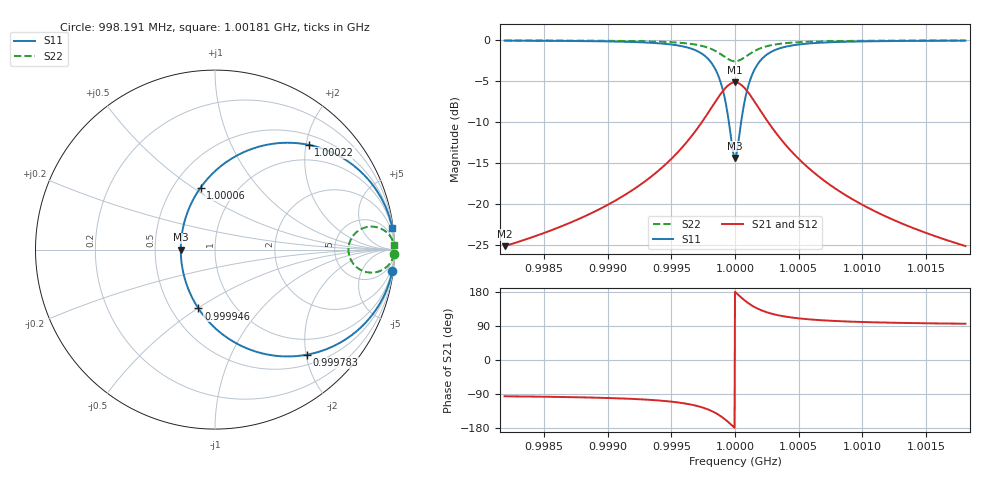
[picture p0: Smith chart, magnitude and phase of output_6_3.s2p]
! File generated for n1 = 6, n2 = 3
! b1 = 2.154435
! b2 = 0.464159
! Q0 = 10000.000000
! f0 = 1000000000.000000
! n = 1001
! rel_span = 10.000000
# Hz S RI R 50
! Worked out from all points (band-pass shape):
!   1001 points, 998.191 MHz to 1.00181 GHz, reference 50 ohm
!   highest |S21| = -5.15 dB at 1 GHz (marker M1); lowest = -25.2 dB at 998.191 MHz (marker M2)
!   |S21| within 3 dB of the highest: 999.8195 MHz to 1.000181 GHz (361 kHz wide, 0.0361 % of centre)
!   lowest |S11| = -14.4 dB at 1 GHz (marker M3), VSWR 1.47, Z = 34 + j0 ohm
!   |S11| at or under -10 dB: 999.9519 MHz to 1.000048 GHz (96.23 kHz wide, 0.00962 % of centre)
!   |S22| runs from -2.6 to 0.0 dB; largest |S21 - S12| = 0
!   S11 on the Smith chart (normalised r, x): 998.191 MHz: 1, -17; 999.783 MHz: 0.68, -2.02; 999.946 MHz: 0.68, -0.50; 1.00006 GHz: 0.68, +0.54; 1.00022 GHz: 0.68, +2.05; 1.00181 GHz: 1, +17
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9.981907e8  0.9882 -0.1178  -0.00546 -0.0547  -0.00546 -0.0547  0.9975 -0.0254
9.98795e8  0.9738 -0.1747  -0.0122 -0.0811  -0.0122 -0.0811  0.9944 -0.0376
9.993993e8  0.901 -0.3287  -0.0459 -0.1526  -0.0459 -0.1526  0.9787 -0.0708
9.996309e8  0.7694 -0.4706  -0.107 -0.2184  -0.107 -0.2184  0.9503 -0.1014
9.997141e8  0.6595 -0.5381  -0.158 -0.2497  -0.158 -0.2497  0.9266 -0.1159
9.997829e8  0.512 -0.5856  -0.2265 -0.2718  -0.2265 -0.2718  0.8949 -0.1262
9.998733e8  0.2009 -0.5594  -0.3709 -0.2597  -0.3709 -0.2597  0.8278 -0.1205
9.999095e8  0.0474 -0.4763  -0.4422 -0.2211  -0.4422 -0.2211  0.7948 -0.1026
9.999457e8  -0.0924 -0.3277  -0.5071 -0.1521  -0.5071 -0.1521  0.7646 -0.0706
9.999819e8  -0.179 -0.1179  -0.5472 -0.0547  -0.5472 -0.0547  0.746 -0.0254
1e9  -0.1908 0  -0.5527 0  -0.5527 0  0.7435 0
1.000018e9  -0.179 0.1179  -0.5472 0.0547  -0.5472 0.0547  0.746 0.0254
1.000058e9  -0.0802 0.3456  -0.5014 0.1604  -0.5014 0.1604  0.7673 0.0745
1.00009e9  0.0474 0.4763  -0.4422 0.2211  -0.4422 0.2211  0.7948 0.1026
1.000127e9  0.2008 0.5594  -0.371 0.2597  -0.371 0.2597  0.8278 0.1205
1.000166e9  0.355 0.5933  -0.2994 0.2754  -0.2994 0.2754  0.861 0.1278
1.000221e9  0.5214 0.5838  -0.2221 0.271  -0.2221 0.271  0.8969 0.1258
1.000289e9  0.6654 0.5352  -0.1553 0.2484  -0.1553 0.2484  0.9279 0.1153
1.000373e9  0.7728 0.4679  -0.1054 0.2172  -0.1054 0.2172  0.9511 0.1008
1.000604e9  0.902 0.3273  -0.0455 0.1519  -0.0455 0.1519  0.9789 0.0705
1.001209e9  0.9739 0.1745  -0.0121 0.081  -0.0121 0.081  0.9944 0.0376
1.001809e9  0.9882 0.118  -0.00548 0.0548  -0.00548 0.0548  0.9975 0.0254
